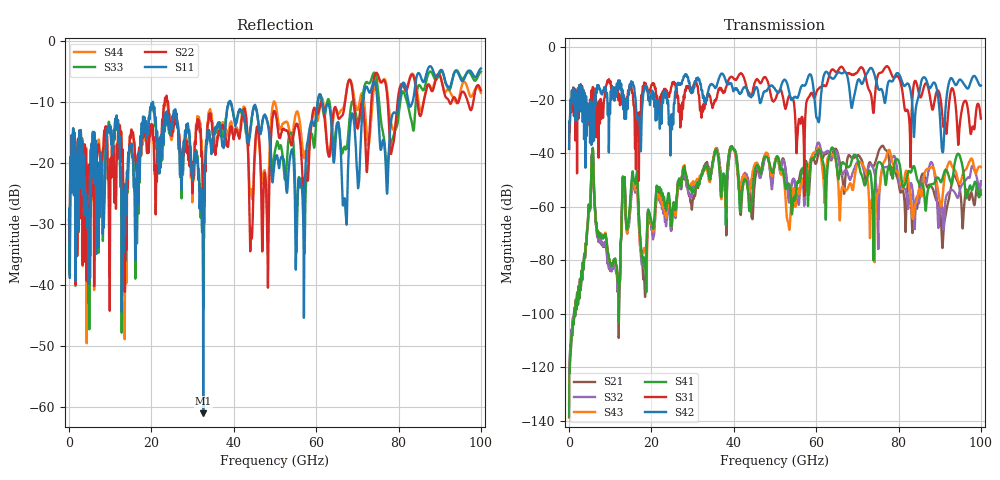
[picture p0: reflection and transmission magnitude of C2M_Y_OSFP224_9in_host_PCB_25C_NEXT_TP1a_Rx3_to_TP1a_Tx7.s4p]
# GHz S RI R 45
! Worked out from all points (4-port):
!   4000 points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, 25 MHz to 100 GHz, reference 45 ohm
!   strongest paths, dB at 25 MHz, 25.02 GHz, 50.02 GHz, 75.03 GHz, 100 GHz:
!     S42: -38.2, -30.2, -15.9, -15.6, -14.6
!     S31: -38.3, -13.9, -19.8, -10.6, -26.9
!     S41: -138.4, -63.6, -43.7, -43.5, -53.8
!     S43: -138.9, -63.2, -43.1, -54.8, -45.1
!     S32: -134.5, -64.8, -43.1, -70.8, -50.3
!     S21: -134.4, -65.7, -42.9, -39.9, -55.4
!   lowest |S11| = -61.0 dB at 32.58 GHz (marker M1), VSWR 1.00, Z = 45.1 + j0.0599 ohm
!   |S11| at or under -10 dB: start of sweep to 20.34 GHz; 20.39 GHz to 38.78 GHz (18.39 GHz wide, 62.2 % of centre); 39.21 GHz to 60.36 GHz (21.15 GHz wide, 42.5 % of centre) (the widest 3 of 7)
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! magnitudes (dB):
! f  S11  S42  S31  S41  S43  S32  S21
! 25 MHz  -29.2  -38.2  -38.3  -138.4  -138.9  -134.5  -134.4
! 5.7 GHz  -17.0  -26.1  -16.7  -39.2  -39.1  -39.2  -39.3
! 10.3 GHz  -16.8  -19.7  -15.2  -82.2  -82.0  -83.9  -84.1
! 16.15 GHz  -32.8  -19.5  -32.4  -51.0  -53.3  -54.3  -52.0
! 18.2 GHz  -13.9  -16.7  -14.0  -79.0  -75.9  -79.7  -86.0
! 32.58 GHz  -61.0  -18.9  -23.2  -46.6  -47.0  -46.5  -46.2
! 100 GHz  -4.5  -14.6  -26.9  -53.8  -45.1  -50.3  -55.4
